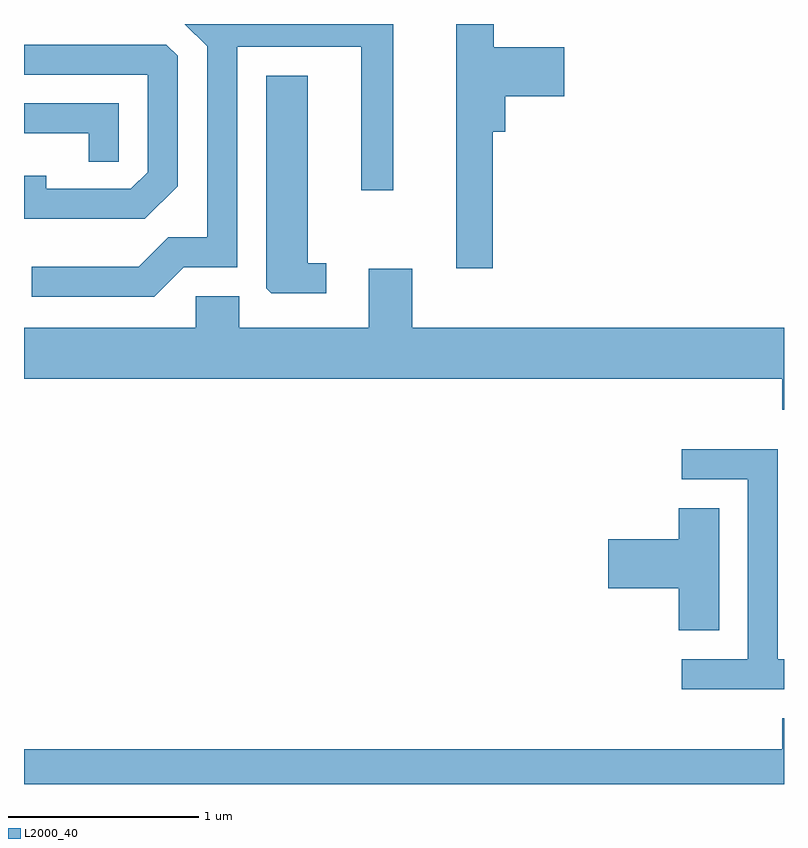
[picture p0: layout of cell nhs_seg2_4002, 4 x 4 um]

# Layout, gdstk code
import gdstk
lib = gdstk.Library(unit=1e-6, precision=1e-09)
def P(c, l, *ps):  # polygons
    for p in ps: c.add(gdstk.Polygon(p, *l))
L2000_40 = (2000, 40)

nhs_seg2_4002 = lib.new_cell('nhs_seg2_4002')
P(nhs_seg2_4002, L2000_40, [(304.452,984.521),(304.734,984.521),(304.734,985.681),(305.386,985.681),(305.386,984.928),(305.554,984.928),(305.554,985.802),(304.458,985.802),(304.576,985.684),(304.576,984.679),(304.369,984.679),(304.214,984.524),(303.653,984.524),(303.653,984.366),(304.297,984.366)],
  [(306.079,985.236),(306.144,985.236),(306.144,985.421),(306.454,985.421),(306.454,985.679),(306.084,985.679),(306.084,985.802),(305.886,985.802),(305.886,984.516),(306.079,984.516)],
  [(304.419,984.949),(304.419,985.634),(304.359,985.694),(303.611,985.694),(303.611,985.536),(304.261,985.536),(304.261,985.022),(304.174,984.934),(303.729,984.934),(303.729,985.004),(303.611,985.004),(303.611,984.776),(304.247,984.776)],
  [(305.203,984.544),(305.104,984.544),(305.104,985.529),(304.886,985.529),(304.886,984.412),(304.912,984.386),(305.203,984.386)],
  [(304.109,985.384),(303.611,985.384),(303.611,985.226),(303.951,985.226),(303.951,985.078),(304.109,985.078)],
  [(307.611,984.204),(305.654,984.204),(305.654,984.514),(305.426,984.514),(305.426,984.204),(304.744,984.204),(304.744,984.369),(304.516,984.369),(304.516,984.204),(303.611,984.204),(303.611,983.936),(307.601,983.936),(307.601,983.771),(307.611,983.771)],
  [(307.611,982.459),(307.579,982.459),(307.579,983.564),(307.073,983.564),(307.073,983.406),(307.421,983.406),(307.421,982.459),(307.073,982.459),(307.073,982.301),(307.611,982.301)],
  [(307.269,983.254),(307.056,983.254),(307.056,983.089),(306.686,983.089),(306.686,982.831),(307.056,982.831),(307.056,982.611),(307.269,982.611)],
  [(307.611,982.149),(307.601,982.149),(307.601,981.984),(303.611,981.984),(303.611,981.802),(307.611,981.802)])

lib.write_gds('nhs_seg2_4002.gds')
